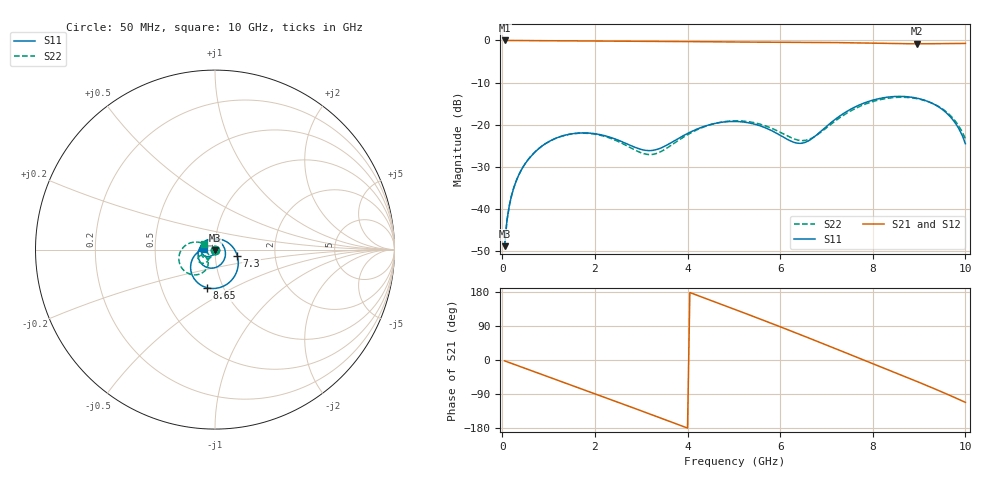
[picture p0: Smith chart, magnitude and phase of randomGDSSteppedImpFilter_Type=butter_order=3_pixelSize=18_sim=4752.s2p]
! freq	dB(S11)	phase(S11)	dB(S12)	phase(S12)
!  dB(S21)	phase(S21)	dB(S22)	phase(S22)
!S-par simulation data
#  GHz  S  DB  R 50
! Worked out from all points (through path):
!   200 points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, 50 MHz to 10 GHz, reference 50 ohm
!   highest |S21| = 0.00 dB at 50 MHz (marker M1); lowest = -0.8 dB at 8.95 GHz (marker M2)
!   group delay of S21, straight-line fit = 130 ps
!   lowest |S11| = -48.7 dB at 50 MHz (marker M3), VSWR 1.01, Z = 50 - j0.365 ohm
!   |S11| at or under -10 dB: start of sweep to end of sweep
!   |S22| runs from -48.7 to -13.5 dB; largest |S21 - S12| = 0
!   S11 on the Smith chart (normalised r, x): 50 MHz: 1.00, -0.01; 7.3 GHz: 1.28, -0.09; 8.65 GHz: 0.84, -0.37; 10 GHz: 0.89, +0.01
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0.05  -48.74 -91.8  -0.00 -2.3  -0.00 -2.3  -48.71 -91.0
0.1  -42.73 -94.8  -0.00 -4.5  -0.00 -4.5  -42.70 -93.3
0.2  -36.75 -100.2  -0.01 -9.0  -0.01 -9.0  -36.73 -97.3
0.5  -29.11 -116.0  -0.04 -22.4  -0.04 -22.4  -29.09 -109.1
1.05  -23.71 -146.2  -0.07 -46.9  -0.07 -46.9  -23.71 -130.0
1.75  -21.90 173.9  -0.11 -78.0  -0.11 -78.0  -21.97 -153.2
2.55  -23.84 116.1  -0.15 -113.8  -0.15 -113.8  -24.18 -167.9
3.1  -26.05 53.2  -0.17 -138.6  -0.17 -138.6  -26.94 -152.6
3.4  -25.60 11.5  -0.20 -152.2  -0.20 -152.2  -26.47 -134.8
4.2  -21.02 -69.1  -0.28 171.2  -0.28 171.2  -21.20 -125.0
5.05  -19.20 -128.0  -0.37 132.2  -0.37 132.2  -19.04 -144.0
5.5  -19.99 -159.8  -0.39 111.3  -0.39 111.3  -19.63 -153.9
5.9  -21.85 165.7  -0.40 92.5  -0.40 92.5  -21.22 -157.7
6.35  -24.29 107.0  -0.42 71.0  -0.42 71.0  -23.50 -146.2
6.7  -23.15 49.7  -0.44 54.1  -0.44 54.1  -23.05 -125.0
7.3  -17.81 -15.4  -0.52 24.8  -0.52 24.8  -18.22 -114.5
7.8  -14.88 -51.1  -0.63 0.2  -0.63 0.2  -15.25 -125.8
8.35  -13.39 -84.5  -0.74 -26.8  -0.74 -26.8  -13.65 -144.9
8.65  -13.27 -101.7  -0.78 -41.5  -0.78 -41.5  -13.46 -156.6
8.95  -13.67 -118.8  -0.79 -56.5  -0.79 -56.5  -13.78 -168.8
9.6  -17.26 -156.8  -0.74 -89.9  -0.74 -89.9  -17.03 164.4
10  -24.45 175.7  -0.70 -111.8  -0.70 -111.8  -23.33 152.7
